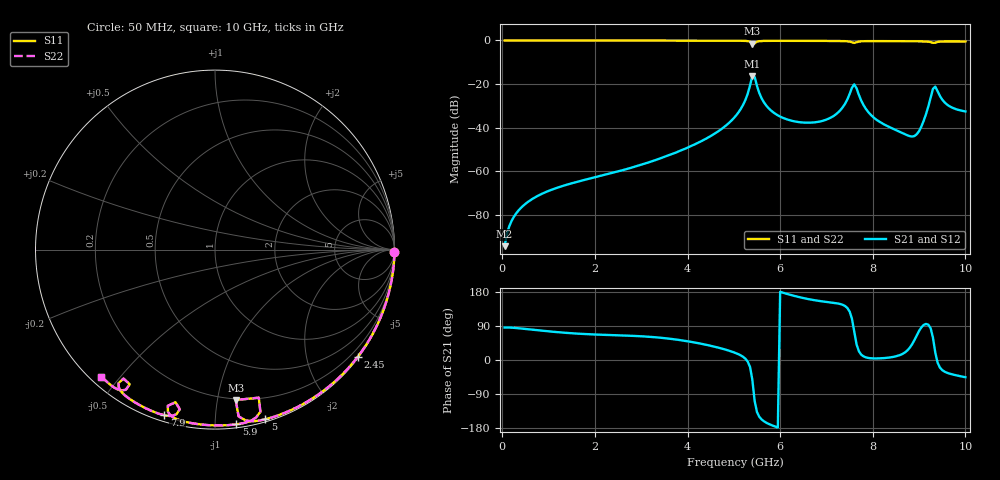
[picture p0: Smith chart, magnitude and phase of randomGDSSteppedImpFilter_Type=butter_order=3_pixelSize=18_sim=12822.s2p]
! freq	dB(S11)	phase(S11)	dB(S12)	phase(S12)
!  dB(S21)	phase(S21)	dB(S22)	phase(S22)
!S-par simulation data
#  GHz  S  DB  R 50
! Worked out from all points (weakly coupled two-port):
!   200 points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, 50 MHz to 10 GHz, reference 50 ohm
!   highest |S21| = -16.25 dB at 5.4 GHz (marker M1); lowest = -94.4 dB at 50 MHz (marker M2)
!   lowest |S11| = -1.5 dB at 5.4 GHz (marker M3), VSWR 11.99, Z = 9.57 - j56.4 ohm
!   |S11| at or under -10 dB: nowhere
!   |S22| runs from -1.5 to 0.0 dB; largest |S21 - S12| = 0
!   S11 on the Smith chart (normalised r, x): 50 MHz: open; 2.45 GHz: 0.03, -3.00; 5 GHz: 0.02, -1.34; 5.9 GHz: 0.02, -1.13; 7.9 GHz: 0.03, -0.74; 10 GHz: 0.03, -0.45
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0.05  -0.00 -0.8  -94.42 85.7  -94.42 85.7  -0.00 -0.8
0.9  -0.02 -13.8  -69.95 76.8  -69.95 76.8  -0.02 -13.8
1.75  -0.03 -26.5  -64.14 68.7  -64.14 68.7  -0.03 -26.5
2.45  -0.05 -36.9  -60.39 65.4  -60.39 65.4  -0.05 -36.9
3.4  -0.07 -50.6  -54.20 58.9  -54.20 58.9  -0.07 -50.6
4.4  -0.09 -64.7  -45.08 40.2  -45.08 40.2  -0.09 -64.7
5  -0.12 -73.4  -35.63 20.3  -35.63 20.3  -0.12 -73.4
5.05  -0.13 -74.2  -34.39 17.9  -34.39 17.9  -0.13 -74.2
5.25  -0.21 -78.3  -27.29 3.3  -27.29 3.3  -0.21 -78.3
5.4  -1.45 -82.2  -16.25 -52.7  -16.25 -52.7  -1.45 -82.2
5.45  -1.31 -73.5  -16.75 -108.7  -16.75 -108.7  -1.31 -73.5
5.65  -0.21 -78.8  -28.41 -161.8  -28.41 -161.8  -0.21 -78.8
5.9  -0.17 -83.1  -33.72 -176.0  -33.72 -176.0  -0.17 -83.1
6.7  -0.19 -93.9  -37.68 158.7  -37.68 158.7  -0.19 -93.9
7.25  -0.25 -101.5  -33.07 149.1  -33.07 149.1  -0.25 -101.5
7.6  -1.13 -104.5  -20.13 74.7  -20.13 74.7  -1.13 -104.5
7.9  -0.31 -107.0  -32.79 5.5  -32.79 5.5  -0.31 -107.0
8.35  -0.31 -113.2  -39.70 6.3  -39.70 6.3  -0.31 -113.2
8.95  -0.39 -120.9  -43.04 64.9  -43.04 64.9  -0.39 -120.9
9.35  -1.03 -122.4  -21.18 19.5  -21.18 19.5  -1.03 -122.4
9.6  -0.43 -126.5  -29.36 -33.6  -29.36 -33.6  -0.43 -126.5
10  -0.45 -131.8  -32.58 -45.5  -32.58 -45.5  -0.45 -131.8
